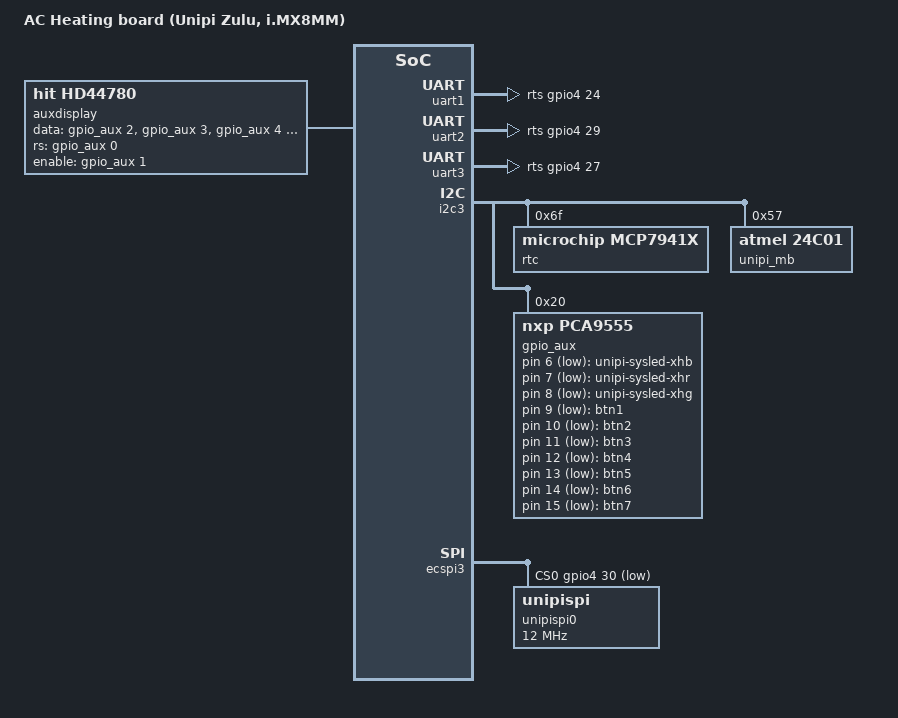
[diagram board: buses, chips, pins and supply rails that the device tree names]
// SPDX-License-Identifier: (GPL-2.0+ OR MIT)
/*
 * Copyright 2020 Faster CZ
 * Copyright 2019 NXP
 */

/dts-v1/;

#include <dt-bindings/usb/pd.h>
#include "unipi-zulu.dtsi"

/ {
	model = "AC Heating board (Unipi Zulu, i.MX8MM)";

    unipi_id: unipi-id {
        compatible = "unipi,unipi-id";
        nvmem = <&unipi_mb>;
        nvmem-names = "plcid0";
        id-channel = <&i2c3>;
    };

	mbleds {
		compatible = "gpio-leds";

		user-led@1 {
			label = "unipi-sysled-xhb";
			gpios = <&gpio_aux 6 GPIO_ACTIVE_LOW>;
			default-state = "off";
			linux,default-trigger = "30be0000.ethernet-1:01:link";
		};
		user-led@2 {
			label = "unipi-sysled-xhr";
			gpios = <&gpio_aux 7 GPIO_ACTIVE_LOW>;
			default-state = "off";
		};
		user-led@3 {
			label = "unipi-sysled-xhg";
			gpios = <&gpio_aux 8 GPIO_ACTIVE_LOW>;
			default-state = "on";
			linux,default-trigger = "heartbeat";
		};
	};

	buttons {
		compatible = "gpio-keys-polled";
		poll-interval = <50>;
		btn1 {
			label = "btn1";
			gpios = <&gpio_aux 9 GPIO_ACTIVE_LOW>;
			linux,code = <2>;
			//debounce-interval = <50>;
		};
		btn2 {
			label = "btn2";
			gpios = <&gpio_aux 10 GPIO_ACTIVE_LOW>;
			linux,code = <1>;
		};
		btn3 {
			label = "btn3";
			gpios = <&gpio_aux 11 GPIO_ACTIVE_LOW>;
			linux,code = <105>;
		};
		btn4 {
			label = "btn4";
			gpios = <&gpio_aux 12 GPIO_ACTIVE_LOW>;
			linux,code = <103>;
		};
		btn5 {
			label = "btn5";
			gpios = <&gpio_aux 13 GPIO_ACTIVE_LOW>;
			linux,code = <104>;
		};
		btn6 {
			label = "btn6";
			gpios = <&gpio_aux 14 GPIO_ACTIVE_LOW>;
			linux,code = <106>;
		};
		btn7 {
			label = "btn7";
			gpios = <&gpio_aux 15 GPIO_ACTIVE_LOW>;
			linux,code = <28>;
		};
	};

	auxdisplay: auxdisplay {
		compatible = "hit,hd44780";

		data-gpios = <&gpio_aux 2 GPIO_ACTIVE_HIGH>,
		             <&gpio_aux 3 GPIO_ACTIVE_HIGH>,
		             <&gpio_aux 4 GPIO_ACTIVE_HIGH>,
		             <&gpio_aux 5 GPIO_ACTIVE_HIGH>;
		rs-gpios = <&gpio_aux 0 GPIO_ACTIVE_HIGH>;
		enable-gpios = <&gpio_aux 1 GPIO_ACTIVE_HIGH>;
		//backlight-gpios = <&gpio_aux 3 GPIO_ACTIVE_LOW>;
		display-height-chars = <4>;
		display-width-chars = <20>;
	};
};

&uart1 {
	pinctrl-names = "default";
	pinctrl-0 = <&pinctrl_uart1>, <&pinctrl_uart1_ctrl>;
	status = "okay";
	rts-gpios = <&gpio4 24 GPIO_ACTIVE_HIGH>;
	// size and count of dma buffer for rx - default is <1024 16>
	fsl,dma-info = <32 1>;
	linux,rs485-enabled-at-boot-time;
};

&uart2 {
	pinctrl-names = "default";
	pinctrl-0 = <&pinctrl_uart2>, <&pinctrl_uart2_ctrl>;
	status = "okay";
	rts-gpios = <&gpio4 29 GPIO_ACTIVE_HIGH>;
	// size and count of dma buffer for rx - default is <1024 16>
	fsl,dma-info = <32 1>;
	//linux,rs485-enabled-at-boot-time;
};

&uart3 { /* console */
	pinctrl-names = "default";
	pinctrl-0 = <&pinctrl_uart3>, <&pinctrl_uart3_ctrl>;
	status = "okay";
	// size and count of dma buffer for rx - default is <1024 16>
	fsl,dma-info = <32 1>;
	rts-gpios = <&gpio4 27 GPIO_ACTIVE_HIGH>;
	linux,rs485-enabled-at-boot-time;
};

&i2c3 {
	status = "okay";

    rtc@6f {
            compatible = "microchip,mcp7941x";
            reg = <0x6f>;
    };

    unipi_mb:24c01@57 {
        compatible = "atmel,24c01";
        reg = <0x57>;
        status = "okay";
    };

	gpio_aux: pca9555pw@20 {
		compatible = "nxp,pca9555";
		gpio-controller;
		#gpio-cells = <2>;
		reg = <0x20>;
	};
};

&ecspi2 {
	fsl,spi-num-chipselects = <0>;
	pinctrl-names = "default";
	pinctrl-0 = <&pinctrl_ecspi2>, <&pinctrl_ecspi2_cs>;
	cs-gpios = <&gpio5 13 1>;
	status = "disabled";

    mram0: m25p80@0 {
        #address-cells = <1>;
        #size-cells = <1>;
        compatible = "me48lm01";
        reg = <0>;
        spi-max-frequency = <40000000>;
        size = <131072>;
        pagesize = <128>;
        address-width = <24>;
        status = "disabled";
     };
};

&ecspi3 {
	fsl,spi-num-chipselects = <0>;
	pinctrl-names = "default";
	pinctrl-0 = <&pinctrl_ecspi3>, <&pinctrl_ecspi3_cs>;
	cs-gpios = <&gpio4 30 1>;
	status = "okay";

    unipispi0: unipispi@0 {
        compatible = "unipispi";
        reg = <0>;
        status = "okay";
        spi-max-frequency = <12000000>;
        modbus-address = <1>;
		#address-cells = <1>;
		#size-cells = <0>;

		iogroup1 {
			reg = <1>;
			compatible = "unipi,unipi-mfd", "iogroup";
			interrupt-parent = <&gpio4>;
			interrupts = <23 IRQ_TYPE_EDGE_RISING>;   // gpio4.23
			core {
				fw_variant = <0x2A00>;
				fw_name = "OEM-ACHEAT-1";
				board_name = "OEM-ACHEAT-1";
				cycle_counter = <1016>;
				master_watchdog_enable = <2>;
			};
			gpio_di1:di {
				compatible = "unipi,gpio-di";
				gpio-controller;
				#gpio-cells = <2>;
				gpio-line-names = "DI1_1", "DI1_2", "DI1_3", "DI1_AC";
				ngpio = <4>;
				value-reg = <0>;
				debounce-reg = <1010>;
				counter-reg = <3>;
			};
			do {
				compatible = "unipi,gpio-do";
				ngpio = <1>;
				value-coil = <16>;
			};
			ro {
				compatible = "unipi,gpio-ro";
				ngpio = <16>;
				value-coil = <0>;
			};
			ai {
				compatible = "unipi,ai18";
				io-count = <17>;
				io-value-reg = <3>;
			};
			ao {
				compatible = "unipi,ao";
				io-count = <2>;
				io-value-reg = <37>;
			};
		};
    };
};


&iomuxc {

	pinctrl_ecspi2_cs: ecspi2cs {
		fsl,pins = <
			MX8MM_IOMUXC_ECSPI2_SS0_GPIO5_IO13          0x04
		>;
	};

	pinctrl_ecspi3_cs: ecspi3cs {
		fsl,pins = <
			MX8MM_IOMUXC_SAI2_RXD0_GPIO4_IO23			0x19
			MX8MM_IOMUXC_SAI3_RXD_GPIO4_IO30			0x19
		>;
	};
};
